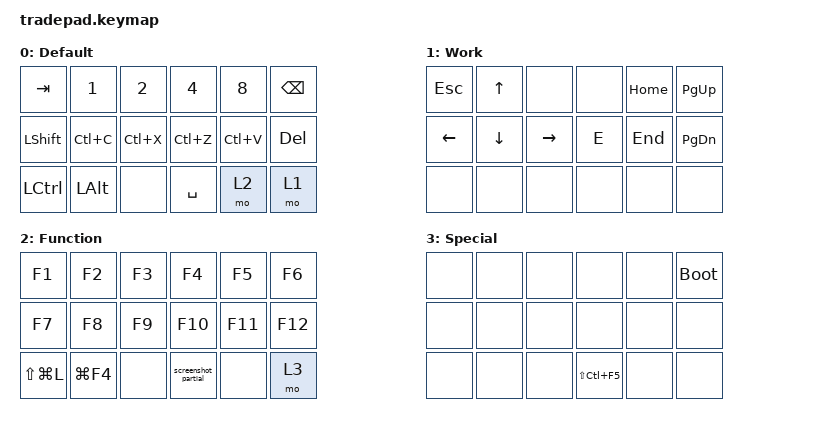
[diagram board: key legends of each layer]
#include <behaviors.dtsi>
#include <dt-bindings/zmk/keys.h>
#include <dt-bindings/zmk/bt.h>

/ {
    macros {
        screenshot_partial: screenshot_partial {
            compatible = "zmk,behavior-macro";
            #binding-cells = <0>;
            bindings = <&macro_press &kp LSHFT &kp LCTRL>, <&macro_tap &kp F5>, <&macro_release &kp LCTRL &kp LSHFT>;
        };
    };

    keymap {
        compatible = "zmk,keymap";

        // Слой 0: основной
        default_layer {
            display-name = "Default";
            bindings = <
                &kp TAB     &kp N1      &kp N2     &kp N4       &kp N8    &kp BSPC 
                &kp LSHFT   &kp LC(C)   &kp LC(X)  &kp LC(Z)    &kp LC(V) &kp DELETE  
                &kp LCTRL   &kp LALT    &none      &kp SPACE    &mo 2     &mo 1
            >;
        };

        work_layer {
            display-name = "Work";
            bindings = <
                &kp ESC    &kp UP    &none      &none    &kp HOME  &kp PG_UP   
                &kp LEFT   &kp DOWN  &kp RIGHT  &kp E    &kp END   &kp PG_DN        
                &none      &none     &none      &none    &none     &none
            >;
        };

        function_layer {
            display-name = "Function";
            bindings = <
                &kp F1         &kp F2       &kp F3   &kp F4                 &kp F5    &kp F6  
                &kp F7         &kp F8       &kp F9   &kp F10                &kp F11   &kp F12 
                &kp LS(LG(L))  &kp LG(F4)   &none    &screenshot_partial    &none     &mo 3
            >;
        };

        special_layer {
            display-name = "Special";
            bindings = <
                &none    &none   &none   &none            &none    &bootloader
                &none    &none   &none   &none            &none    &none
                &none    &none   &none   &kp LS(LC(F5))   &none    &none
            >;
        };
    };

    combos {
        compatible = "zmk,combos";

        combo_3 {
            bindings = <&kp N3>;
            key-positions = <1 2>;
            layers = <0>;
        };

        combo_5 {
            bindings = <&kp N5>;
            key-positions = <1 3>;
            layers = <0>;
        };

        combo_6 {
            bindings = <&kp N6>;
            key-positions = <2 3>;
            layers = <0>;
        };

        combo_7 {
            bindings = <&kp N7>;
            key-positions = <1 2 3>;
            layers = <0>;
        };

        combo_9 {
            bindings = <&kp N9>;
            key-positions = <1 4>;
            layers = <0>;
        };

        combo_0 {
            bindings = <&kp N0>;
            key-positions = <2 4>;
            layers = <0>;
        };
    };
};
